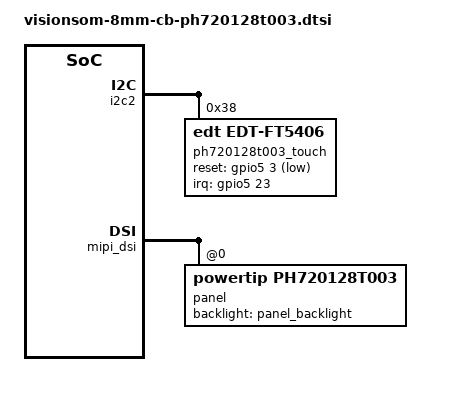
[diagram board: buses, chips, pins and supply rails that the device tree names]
// SPDX-License-Identifier: GPL-2.0-or-later
/*
 * Copyright 2020 SomLabs
 *
 */

&i2c2 {

    ph720128t003_touch: edt-ft5x06@38 {
        compatible = "edt,edt-ft5406", "edt,edt-ft5x06";
        reg = <0x38>;
        pinctrl-names = "default";
        pinctrl-0 = <&pinctrl_touch>;
        interrupt-parent = <&gpio5>;
        interrupts = <23 IRQ_TYPE_EDGE_FALLING>;
        reset-gpios = <&gpio5 3 GPIO_ACTIVE_LOW>;
        touchscreen-size-x = <720>;
        touchscreen-size-y = <1280>;
    };

};

&mipi_dsi {
    status = "okay";

    panel@0 {
        pinctrl-names = "default";
        compatible = "powertip,ph720128t003";
        reg = <0>;
        backlight = <&panel_backlight>;
        status = "okay";
    };
};
